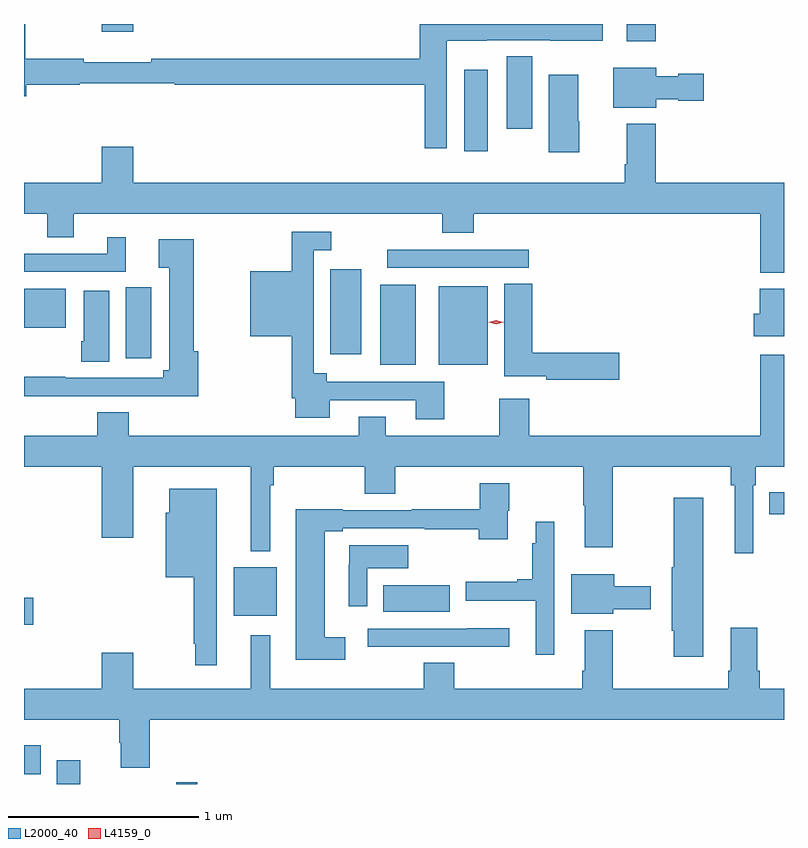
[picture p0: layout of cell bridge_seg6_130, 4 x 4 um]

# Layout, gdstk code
import gdstk
lib = gdstk.Library(unit=1e-6, precision=1e-09)
def R(c, l, rs):  # rectangles x0, y0, x1, y1
    for r in rs: c.add(gdstk.rectangle(r[:2], r[2:], *l))
def P(c, l, *ps):  # polygons
    for p in ps: c.add(gdstk.Polygon(p, *l))
L2000_40 = (2000, 40)
L4159_0 = (4159, 0)

bridge_seg6_130 = lib.new_cell('bridge_seg6_130')
R(bridge_seg6_130, L2000_40, [(392.543,936.343,392.665,936.469), (393.17,936.343,393.283,936.351), (392.37,936.395,392.458,936.547), (392.37,937.18,392.419,937.322), (393.473,937.229,393.7,937.483), (394.261,937.25,394.611,937.39), (396.292,937.762,396.37,937.878), (394.244,938.549,394.432,938.971), (394.553,938.549,394.81,938.962), (392.906,938.583,393.04,938.958), (393.983,938.604,394.144,939.052), (392.37,938.744,392.59,938.95), (394.281,939.06,395.026,939.156), (394.688,939.672,394.81,940.102), (394.91,939.792,395.044,940.172), (395.543,940.251,395.696,940.343), (392.78,940.302,392.944,940.343)])
P(bridge_seg6_130, L2000_40, [(394.596,940.256),(394.806,940.256),(394.806,940.257),(395.14,940.257),(395.14,940.256),(395.416,940.256),(395.416,940.343),(394.454,940.343),(394.454,940.16),(393.04,940.16),(393.04,940.141),(392.684,940.141),(392.684,940.16),(392.376,940.16),(392.376,940.343),(392.37,940.343),(392.37,939.964),(392.381,939.964),(392.381,940.024),(392.664,940.024),(392.664,940.032),(393.164,940.032),(393.164,940.024),(394.48,940.024),(394.48,939.69),(394.596,939.69)],
  [(395.698,939.947),(395.814,939.947),(395.814,939.94),(395.947,939.94),(395.947,940.082),(395.814,940.082),(395.814,940.069),(395.698,940.069),(395.698,940.114),(395.471,940.114),(395.471,939.902),(395.698,939.902)],
  [(395.293,939.831),(395.287,939.831),(395.287,940.075),(395.132,940.075),(395.132,939.669),(395.293,939.669)],
  [(396.37,939.508),(395.696,939.508),(395.696,939.817),(395.543,939.817),(395.543,939.604),(395.531,939.604),(395.531,939.508),(392.944,939.508),(392.944,939.697),(392.78,939.697),(392.78,939.508),(392.37,939.508),(392.37,939.344),(392.492,939.344),(392.492,939.22),(392.632,939.22),(392.632,939.344),(394.571,939.344),(394.571,939.245),(394.736,939.245),(394.736,939.344),(396.245,939.344),(396.245,939.035),(396.37,939.035)],
  [(394.581,938.46),(393.964,938.46),(393.964,938.506),(393.894,938.506),(393.894,938.803),(393.895,938.803),(393.895,939.153),(393.988,939.153),(393.988,939.249),(393.778,939.249),(393.778,939.043),(393.56,939.043),(393.56,938.699),(393.778,938.699),(393.778,938.374),(393.797,938.374),(393.797,938.27),(393.979,938.27),(393.979,938.364),(394.433,938.364),(394.433,938.262),(394.581,938.262)],
  [(392.905,939.22),(392.807,939.22),(392.807,939.135),(392.37,939.135),(392.37,939.039),(392.905,939.039)],
  [(392.672,938.385),(393.02,938.385),(393.02,938.384),(393.287,938.384),(393.287,938.62),(393.264,938.62),(393.264,939.211),(393.078,939.211),(393.078,939.059),(393.134,939.059),(393.134,938.52),(393.104,938.52),(393.104,938.481),(392.588,938.481),(392.588,938.486),(392.37,938.486),(392.37,938.384),(392.672,938.384)],
  [(395.503,938.612),(395.045,938.612),(395.045,938.975),(394.898,938.975),(394.898,938.489),(395.118,938.489),(395.118,938.47),(395.503,938.47)],
  [(396.37,938.95),(396.242,938.95),(396.242,938.817),(396.212,938.817),(396.212,938.699),(396.37,938.699)],
  [(392.818,938.938),(392.684,938.938),(392.684,938.674),(392.672,938.674),(392.672,938.566),(392.818,938.566)],
  [(395.03,938.371),(394.87,938.371),(394.87,938.176),(394.273,938.176),(394.273,938.275),(394.133,938.275),(394.133,938.176),(392.921,938.176),(392.921,938.3),(392.756,938.3),(392.756,938.176),(392.37,938.176),(392.37,938.012),(392.78,938.012),(392.78,937.638),(392.944,937.638),(392.944,938.012),(393.563,938.012),(393.563,937.568),(393.667,937.568),(393.667,937.916),(393.685,937.916),(393.685,938.012),(394.163,938.012),(394.163,937.87),(394.323,937.87),(394.323,938.012),(395.314,938.012),(395.314,937.81),(395.321,937.81),(395.321,937.59),(395.469,937.59),(395.469,938.012),(396.091,938.012),(396.091,937.916),(396.11,937.916),(396.11,937.557),(396.207,937.557),(396.207,937.916),(396.221,937.916),(396.221,938.012),(396.37,938.012),(396.37,938.602),(396.245,938.602),(396.245,938.176),(395.03,938.176)],
  [(394.06,937.115),(393.952,937.115),(393.952,937.673),(394.048,937.673),(394.048,937.689),(394.48,937.689),(394.48,937.684),(394.763,937.684),(394.763,937.632),(394.915,937.632),(394.915,937.782),(394.923,937.782),(394.923,937.927),(394.768,937.927),(394.768,937.788),(394.411,937.788),(394.411,937.785),(394.048,937.785),(394.048,937.788),(393.8,937.788),(393.8,936.998),(394.06,936.998)],
  [(393.385,937.897),(393.134,937.897),(393.134,937.77),(393.116,937.77),(393.116,937.43),(393.264,937.43),(393.264,937.081),(393.271,937.081),(393.271,936.969),(393.385,936.969)],
  [(395.944,937.849),(395.791,937.849),(395.791,937.485),(395.78,937.485),(395.78,937.149),(395.791,937.149),(395.791,937.014),(395.944,937.014)],
  [(395.16,937.501),(395.161,937.501),(395.161,937.723),(395.063,937.723),(395.063,937.61),(395.044,937.61),(395.044,937.42),(394.967,937.42),(394.967,937.407),(394.696,937.407),(394.696,937.307),(395.063,937.307),(395.063,937.023),(395.16,937.023)],
  [(394.176,937.478),(394.393,937.478),(394.393,937.599),(394.081,937.599),(394.081,937.496),(394.08,937.496),(394.08,937.278),(394.176,937.278)],
  [(395.472,937.262),(395.668,937.262),(395.668,937.384),(395.476,937.384),(395.476,937.447),(395.249,937.447),(395.249,937.238),(395.472,937.238)],
  [(393.032,936.68),(396.37,936.68),(396.37,936.844),(396.242,936.844),(396.242,936.94),(396.229,936.94),(396.229,937.165),(396.089,937.165),(396.089,936.94),(396.077,936.94),(396.077,936.844),(395.469,936.844),(395.469,937.153),(395.321,937.153),(395.321,936.94),(395.309,936.94),(395.309,936.844),(394.634,936.844),(394.634,936.98),(394.474,936.98),(394.474,936.844),(393.667,936.844),(393.667,937.126),(393.563,937.126),(393.563,936.844),(392.944,936.844),(392.944,937.033),(392.78,937.033),(392.78,936.844),(392.37,936.844),(392.37,936.68),(392.872,936.68),(392.872,936.56),(392.879,936.56),(392.879,936.428),(393.032,936.428)],
  [(394.924,937.162),(394.704,937.162),(394.704,937.161),(394.179,937.161),(394.179,937.065),(394.924,937.065)])
P(bridge_seg6_130, L4159_0, [(394.855,938.764),(394.817,938.773),(394.817,938.773),(394.817,938.774),(394.855,938.784),(394.893,938.774),(394.894,938.774),(394.893,938.774)])

lib.write_gds('bridge_seg6_130.gds')
